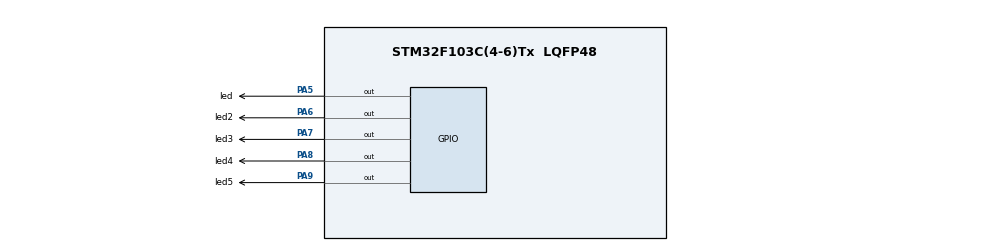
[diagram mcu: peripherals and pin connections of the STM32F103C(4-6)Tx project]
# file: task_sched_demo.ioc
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Mcu.Family=STM32F1
Mcu.Name=STM32F103C(4-6)Tx
Mcu.Package=LQFP48
NVIC.PriorityGroup=NVIC_PRIORITYGROUP_4
NVIC.TIM2_IRQn=true\:0\:0\:false\:false\:true\:true\:true
PA5.GPIO_Label=led
PA5.Signal=GPIO_Output
PA6.GPIO_Label=led2
PA6.Signal=GPIO_Output
PA7.GPIO_Label=led3
PA7.Signal=GPIO_Output
PA8.GPIO_Label=led4
PA8.Signal=GPIO_Output
PA9.GPIO_Label=led5
PA9.Signal=GPIO_Output
ProjectManager.HeapSize=0x200
ProjectManager.StackSize=0x400
ProjectManager.TargetToolchain=STM32CubeIDE
RCC.APB1Freq_Value=8000000
RCC.APB2Freq_Value=8000000
TIM2.Period=9
TIM2.Prescaler=7999
VP_SYS_VS_ND.Mode=No_Debug
VP_TIM2_VS_ClockSourceINT.Mode=Internal
board=custom

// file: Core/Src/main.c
/* USER CODE BEGIN Header */
/**
  ******************************************************************************
  * @file           : main.c
  * @brief          : Main program body
  ******************************************************************************
  * @attention
  *
  * <h2><center>&copy; Copyright (c) 2021 STMicroelectronics.
  * All rights reserved.</center></h2>
  *
  * This software component is licensed by ST under BSD 3-Clause license,
  * the "License"; You may not use this file except in compliance with the
  * License. You may obtain a copy of the License at:
  *                        opensource.org/licenses/BSD-3-Clause
  *
  ******************************************************************************
  */
/* USER CODE END Header */
#include "main.h"

/* USER CODE BEGIN Includes */
#include <limits.h>
#include <stdio.h>
#include <stdlib.h>
/* USER CODE END Includes */

TIM_HandleTypeDef htim2;

void SystemClock_Config(void);
static void MX_GPIO_Init(void);
static void MX_TIM2_Init(void);

/* USER CODE BEGIN 0 */

void do_blink1(){
	HAL_GPIO_TogglePin(led_GPIO_Port, led_Pin);
}
void do_blink2(){
	HAL_GPIO_TogglePin(led2_GPIO_Port, led2_Pin);
}
void do_blink3(){
	HAL_GPIO_TogglePin(led3_GPIO_Port, led3_Pin);
}
void do_blink4(){
	HAL_GPIO_TogglePin(led4_GPIO_Port, led4_Pin);
}
void do_blink5(){
	HAL_GPIO_TogglePin(led5_GPIO_Port, led5_Pin);
}
typedef struct{
	 void (*pTask)(void);
	 uint32_t Delay;
	 uint8_t Period;
	 uint32_t RunMe;
	 //uint32_t Task_ID;
 }sTask;

 #define SCH_MAX_TASKS 5

sTask SCH_tasks_G[SCH_MAX_TASKS];

// unsigned char SCH_Delete_Task(unsigned char TASK_INDEX){
//  unsigned char Return_code ;
//  if( SCH_tasks_G[TASK_INDEX].pTask == 0) {
//	  Return_code = 1;
//  } else {
//	  Return_code = 0;
//  }
//	  SCH_tasks_G[TASK_INDEX].pTask = 0x0000 ;
//	  SCH_tasks_G[TASK_INDEX].Delay = 0 ;
//	  SCH_tasks_G[TASK_INDEX].Period = 0 ;
//	  SCH_tasks_G[TASK_INDEX].RunMe = 0 ;
//	  return Return_code ;
// }
void SCH_Delete_Task(unsigned char TASK_INDEX){

	  for(unsigned int i = TASK_INDEX+1; i<SCH_MAX_TASKS; i++){
		  //shift left
		  	SCH_tasks_G[i-1].pTask = SCH_tasks_G[i].pTask;
			SCH_tasks_G[i-1].Delay = SCH_tasks_G[i].Delay ;
			SCH_tasks_G[i-1].Period = SCH_tasks_G[i].Period ;
			SCH_tasks_G[i-1].RunMe = SCH_tasks_G[i].RunMe ;

	  }
	  SCH_tasks_G[SCH_MAX_TASKS-1].pTask = 0x0000 ;
	  SCH_tasks_G[SCH_MAX_TASKS-1].Delay = 0 ;
	  SCH_tasks_G[SCH_MAX_TASKS-1].Period = 0 ;
	  SCH_tasks_G[SCH_MAX_TASKS-1].RunMe = 0 ;
 }
void SCH_Delete_Task1(unsigned char TASK_INDEX){

	  SCH_tasks_G[TASK_INDEX].pTask = 0x0000 ;
	  SCH_tasks_G[TASK_INDEX].Delay = 0 ;
	  SCH_tasks_G[TASK_INDEX].Period = 0 ;
	  SCH_tasks_G[TASK_INDEX].RunMe = 0 ;

 }
void SCH_Init(){
	unsigned char i;
	for(i = 0; i<SCH_MAX_TASKS; i++){
		SCH_Delete_Task1(i);
	}
}
 void SCH_Update(void){
	 	unsigned char index = 0;;
	 	 if(SCH_tasks_G[index].pTask){
			  if(SCH_tasks_G[index].Delay <= 0){
				  SCH_tasks_G [index].RunMe += 1;
			  }else{
				  SCH_tasks_G[index].Delay -= 1;
			  }
		  }
}
void SCH_Add_Task(void(*pFunction )(), unsigned int DELAY, unsigned int PERIOD){
	unsigned int pos = 0;
	unsigned int pos2 = 0;

	for(pos = 0; pos<SCH_MAX_TASKS; pos++){
		if(SCH_tasks_G[pos].pTask ==0){
			break;
		}
	}
	if(pos==SCH_MAX_TASKS) return;

	if(SCH_tasks_G[0].pTask==0){ //queue ban dau rong
		SCH_tasks_G[0].pTask = pFunction;
		SCH_tasks_G[0].Delay = DELAY;
		SCH_tasks_G[0].Period = PERIOD;
		SCH_tasks_G[0].RunMe = 0;
	}else{
		unsigned int valDelay = DELAY;
			for(int i = 0; i<=pos; i++){
				if(SCH_tasks_G[i].Delay <= valDelay && SCH_tasks_G[i].pTask){ // cu nho hon bang moi
					valDelay -= SCH_tasks_G[i].Delay ;
				}else{
					pos2 = i;
					if (SCH_tasks_G[i].pTask)
						SCH_tasks_G[i].Delay -= valDelay;
					break;
				}
			}
			for(int j = pos; j>pos2; j--){
				SCH_tasks_G[j].pTask = SCH_tasks_G[j-1].pTask;
				SCH_tasks_G[j].Delay = SCH_tasks_G[j-1].Delay;
				SCH_tasks_G[j].Period = SCH_tasks_G[j-1].Period;
				SCH_tasks_G[j].RunMe = SCH_tasks_G[j-1].RunMe;
			}
			SCH_tasks_G[pos2].pTask = pFunction;
			SCH_tasks_G[pos2].Delay = valDelay;
			SCH_tasks_G[pos2].Period = PERIOD;
			SCH_tasks_G[pos2].RunMe = 0;
	}
}

 void SCH_Dispatch_Tasks(void){
	 unsigned char index = 0;
	 sTask tempTask;
	 for(index = 0; index<SCH_MAX_TASKS; index++){
		 if ( SCH_tasks_G[index].RunMe > 0) {
			  (*SCH_tasks_G[index].pTask)(); // Run the task
			  SCH_tasks_G[index].RunMe -= 1; // Reset / reduce RunMe f l a g
			  //luu lai task hien tai vao tempTask
//			  tempTask.Delay = SCH_tasks_G[index].Period;
			  tempTask.Period = SCH_tasks_G[index].Period;
//			  tempTask.RunMe = SCH_tasks_G[index].RunMe;
			  tempTask.pTask = SCH_tasks_G[index].pTask;
			  //-----------------------------------//
			  SCH_Delete_Task(index) ;
			  if(tempTask.Period > 0){
				  // neu Task ko phai One Shot add vao lai array
				  //unsigned int tmpDelay = tempTask.Period;
				  SCH_Add_Task(tempTask.pTask, tempTask.Period, tempTask.Period);
			  }

		  }
	}
 }

/* USER CODE END 0 */

int main(void)
{

  /* MCU Configuration--------------------------------------------------------*/

  /* Reset of all peripherals, Initializes the Flash interface and the Systick. */
  HAL_Init();

  /* Configure the system clock */
  SystemClock_Config();

  /* Initialize all configured peripherals */
  MX_GPIO_Init();
  MX_TIM2_Init();
  /* USER CODE BEGIN 2 */
  HAL_TIM_Base_Start_IT(&htim2);
  SCH_Init();
  SCH_Add_Task(do_blink1,5,50);
  SCH_Add_Task(do_blink2,10,100);
  SCH_Add_Task(do_blink3,15,150);
  SCH_Add_Task(do_blink4,20,200);
  SCH_Add_Task(do_blink5,25,250);

  /* USER CODE END 2 */

  /* Infinite loop */
  /* USER CODE BEGIN WHILE */
  while (1)
  {
	  SCH_Dispatch_Tasks();
    /* USER CODE END WHILE */

  }
}

void SystemClock_Config(void)
{
  RCC_OscInitTypeDef RCC_OscInitStruct = {0};
  RCC_ClkInitTypeDef RCC_ClkInitStruct = {0};

  /** Initializes the RCC Oscillators according to the specified parameters
  * in the RCC_OscInitTypeDef structure.
  */
  RCC_OscInitStruct.OscillatorType = RCC_OSCILLATORTYPE_HSI;
  RCC_OscInitStruct.HSIState = RCC_HSI_ON;
  RCC_OscInitStruct.HSICalibrationValue = RCC_HSICALIBRATION_DEFAULT;
  RCC_OscInitStruct.PLL.PLLState = RCC_PLL_NONE;
  if (HAL_RCC_OscConfig(&RCC_OscInitStruct) != HAL_OK)
  {
    Error_Handler();
  }
  /** Initializes the CPU, AHB and APB buses clocks
  */
  RCC_ClkInitStruct.ClockType = RCC_CLOCKTYPE_HCLK|RCC_CLOCKTYPE_SYSCLK
                              |RCC_CLOCKTYPE_PCLK1|RCC_CLOCKTYPE_PCLK2;
  RCC_ClkInitStruct.SYSCLKSource = RCC_SYSCLKSOURCE_HSI;
  RCC_ClkInitStruct.AHBCLKDivider = RCC_SYSCLK_DIV1;
  RCC_ClkInitStruct.APB1CLKDivider = RCC_HCLK_DIV1;
  RCC_ClkInitStruct.APB2CLKDivider = RCC_HCLK_DIV1;

  if (HAL_RCC_ClockConfig(&RCC_ClkInitStruct, FLASH_LATENCY_0) != HAL_OK)
  {
    Error_Handler();
  }
}

static void MX_TIM2_Init(void)
{

  TIM_ClockConfigTypeDef sClockSourceConfig = {0};
  TIM_MasterConfigTypeDef sMasterConfig = {0};

  htim2.Instance = TIM2;
  htim2.Init.Prescaler = 7999;
  htim2.Init.CounterMode = TIM_COUNTERMODE_UP;
  htim2.Init.Period = 9;
  htim2.Init.ClockDivision = TIM_CLOCKDIVISION_DIV1;
  htim2.Init.AutoReloadPreload = TIM_AUTORELOAD_PRELOAD_DISABLE;
  if (HAL_TIM_Base_Init(&htim2) != HAL_OK)
  {
    Error_Handler();
  }
  sClockSourceConfig.ClockSource = TIM_CLOCKSOURCE_INTERNAL;
  if (HAL_TIM_ConfigClockSource(&htim2, &sClockSourceConfig) != HAL_OK)
  {
    Error_Handler();
  }
  sMasterConfig.MasterOutputTrigger = TIM_TRGO_RESET;
  sMasterConfig.MasterSlaveMode = TIM_MASTERSLAVEMODE_DISABLE;
  if (HAL_TIMEx_MasterConfigSynchronization(&htim2, &sMasterConfig) != HAL_OK)
  {
    Error_Handler();
  }

}

static void MX_GPIO_Init(void)
{
  GPIO_InitTypeDef GPIO_InitStruct = {0};

  /* GPIO Ports Clock Enable */
  __HAL_RCC_GPIOA_CLK_ENABLE();

  /*Configure GPIO pin Output Level */
  HAL_GPIO_WritePin(GPIOA, led_Pin|led2_Pin|led3_Pin|led4_Pin
                          |led5_Pin, GPIO_PIN_RESET);

  /*Configure GPIO pins : led_Pin led2_Pin led3_Pin led4_Pin
                           led5_Pin */
  GPIO_InitStruct.Pin = led_Pin|led2_Pin|led3_Pin|led4_Pin
                          |led5_Pin;
  GPIO_InitStruct.Mode = GPIO_MODE_OUTPUT_PP;
  GPIO_InitStruct.Pull = GPIO_NOPULL;
  GPIO_InitStruct.Speed = GPIO_SPEED_FREQ_LOW;
  HAL_GPIO_Init(GPIOA, &GPIO_InitStruct);

}

/* USER CODE BEGIN 4 */
void HAL_TIM_PeriodElapsedCallback(TIM_HandleTypeDef *htim ){
	SCH_Update();
}
/* USER CODE END 4 */

void Error_Handler(void)
{
  __disable_irq();
  while (1)
  {
  }
}

/************************ (C) COPYRIGHT STMicroelectronics *****END OF FILE****/
